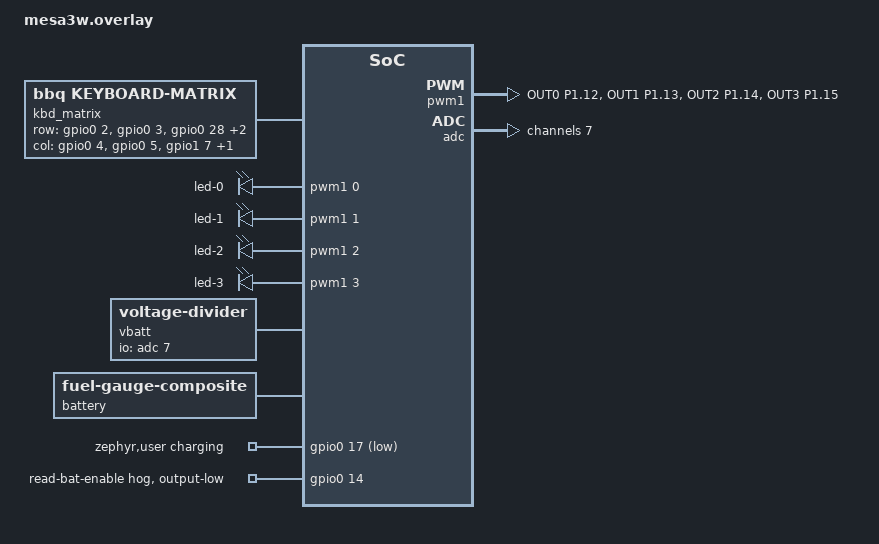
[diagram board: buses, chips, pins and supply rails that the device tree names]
/* Device tree overlay for the mesa3w keyboard, on the xiao_ble board
 *
 * The mesa3w is a new left board for the mesa3: a Seeed XIAO nRF52840 Plus in
 * place of the Tiny 2040, with the mesa3's passive right half unchanged over
 * the RJ-45.  It keeps the mesa3b's matrix, every key in the same (column,
 * row), so the firmware translates it with the mesa3b's table; the board-info
 * name, "mesa3w", is what tells them apart.  The pin map is mesa3w-left's
 * PCB, through the XIAO Plus pad table.
 *
 * The module's own USB-C is the keyboard's, and its 3.3 V LDO the rail, so
 * nothing here configures power.  Four white LEDs on D7..D10 (P1.12..P1.15),
 * anodes on 3V3 and sunk through 560 ohms, are the modifier indicator.
 */

#include <zephyr/dt-bindings/adc/adc.h>
#include <zephyr/dt-bindings/adc/nrf-saadc.h>
#include <zephyr/dt-bindings/battery/battery.h>

/* MCUboot at 0x27000, jolt in slot 0 after it, slot 1 on the QSPI flash. */
#include "mesa3w-partitions.dtsi"

/ {
	aliases {
		matrix = &kbd_matrix;
	};

	chosen {
		zephyr,code-partition = &slot0_partition;

		zephyr,matrix = &kbd_matrix;
		bbq,mono-leds = &mono_leds;

		/* The board's console is a CDC ACM port on the USB controller,
		 * which would be a second USB device beside jolt's.  The console
		 * is RTT, over the Tag-Connect. */
		/delete-property/ zephyr,console;
		/delete-property/ zephyr,shell-uart;
		/delete-property/ zephyr,uart-mcumgr;
		/delete-property/ zephyr,bt-mon-uart;
		/delete-property/ zephyr,bt-c2h-uart;
	};

	/* The last 4 KiB page of the storage partition, which is cut short to
	 * make room, so that settings (Bluetooth bonds, later) can never erase
	 * it.  Below the UF2 bootloader, and outside the application. */
	board_info: board-info@f3000 {
		compatible = "bbq,board-info";
		reg = <0xf3000 0x100>;
		status = "okay";
	};

	/* The names are swapped here, and that is deliberate, as on the mesa3.
	 * The diodes conduct from the board's rows to its columns, so the
	 * scanner drives the board's *rows* and senses its *columns*; it
	 * drives `col-gpios` and senses `row-gpios`, so the board's rows go in
	 * `col-gpios`.  Both in board order, ROW_A and COL_1 first, which keeps
	 * the scan codes at ROW_x * 5 + COL_n as the translation table expects.
	 *
	 * The XIAO runs at 3.3 V, so the silicon diodes leave the sensing plenty
	 * of margin with standard drive; plan-mesa3w.md's 3.0 V worries were
	 * for the nPM1100 design this board replaced.
	 */
	kbd_matrix: kbd-matrix {
		compatible = "bbq,keyboard-matrix";
		row-gpios = <&gpio0 2 (GPIO_PULL_DOWN | GPIO_ACTIVE_HIGH)>,  /* COL_1, D0 */
			    <&gpio0 3 (GPIO_PULL_DOWN | GPIO_ACTIVE_HIGH)>,  /* COL_2, D1 */
			    <&gpio0 28 (GPIO_PULL_DOWN | GPIO_ACTIVE_HIGH)>, /* COL_3, D2 */
			    <&gpio0 29 (GPIO_PULL_DOWN | GPIO_ACTIVE_HIGH)>, /* COL_4, D3 */
			    <&gpio0 15 (GPIO_PULL_DOWN | GPIO_ACTIVE_HIGH)>; /* COL_5, D11 */
		col-gpios = <&gpio0 4 GPIO_ACTIVE_HIGH>,  /* ROW_A, D4 */
			    <&gpio0 5 GPIO_ACTIVE_HIGH>,  /* ROW_B, D5 */
			    <&gpio1 7 GPIO_ACTIVE_HIGH>,  /* ROW_C, D19 */
			    <&gpio1 11 GPIO_ACTIVE_HIGH>; /* ROW_D, D6 */
		idle-mode = "scan";
	};

	/* The four white LEDs, in board order, which is the indicator's slot
	 * order.  The pins sink the LEDs, so they are lit while low; jolt finds
	 * the children by these names. */
	mono_leds: mono-leds {
		compatible = "pwm-leds";

		led-0 {
			pwms = <&pwm1 0 PWM_MSEC(1) PWM_POLARITY_INVERTED>; /* LED1, D7 */
		};

		led-1 {
			pwms = <&pwm1 1 PWM_MSEC(1) PWM_POLARITY_INVERTED>; /* LED2, D8 */
		};

		led-2 {
			pwms = <&pwm1 2 PWM_MSEC(1) PWM_POLARITY_INVERTED>; /* LED3, D9 */
		};

		led-3 {
			pwms = <&pwm1 3 PWM_MSEC(1) PWM_POLARITY_INVERTED>; /* LED4, D10 */
		};
	};
};

&storage_partition {
	reg = <0x000ec000 0x00007000>;
};

/* The board puts uart0 on D6/D7, i2c1 on D4/D5 and spi2 on D8..D10: ROW_D,
 * ROW_A, ROW_B and three of the four LEDs here. */
&uart0 {
	status = "disabled";
};

&i2c1 {
	status = "disabled";
};

&spi2 {
	status = "disabled";
};

&board_cdc_acm_uart {
	status = "disabled";
};

/* The QSPI flash, a P25Q16H, is suspended (in deep power-down) as soon as
 * its driver has initialized it, and again a few milliseconds after each
 * use; the driver resumes it for each operation.  Its init leaves it in
 * standby, about 13 uA more, which is why this is not left to the default.
 * The driver's init also takes it out of deep power-down, so a reset, or a
 * wake from System OFF, comes back through here. */
&p25q16h {
	zephyr,pm-device-runtime-auto;
};

/* The LEDs on D7..D10.  `nordic,invert` idles the pins high, so the LEDs stay
 * dark until the PWM drives them. */
&pinctrl {
	pwm1_default: pwm1_default {
		group1 {
			psels = <NRF_PSEL(PWM_OUT0, 1, 12)>,
				<NRF_PSEL(PWM_OUT1, 1, 13)>,
				<NRF_PSEL(PWM_OUT2, 1, 14)>,
				<NRF_PSEL(PWM_OUT3, 1, 15)>;
			nordic,invert;
		};
	};

	pwm1_sleep: pwm1_sleep {
		group1 {
			psels = <NRF_PSEL(PWM_OUT0, 1, 12)>,
				<NRF_PSEL(PWM_OUT1, 1, 13)>,
				<NRF_PSEL(PWM_OUT2, 1, 14)>,
				<NRF_PSEL(PWM_OUT3, 1, 15)>;
			low-power-enable;
		};
	};
};

&pwm1 {
	pinctrl-0 = <&pwm1_default>;
	pinctrl-1 = <&pwm1_sleep>;
	pinctrl-names = "default", "sleep";
	status = "okay";
};

/* The module's battery divider runs VBAT -> 1M -> P0.31 -> 510k -> P0.14, so
 * P0.14 is the divider's ground.  Left at reset, P0.14 floats, nothing pulls
 * the divider down, and P0.31 and P0.14 both rise toward VBAT: up to 4.2 V
 * from the cell or the charger, past the 3.6 V (VDD + 0.3 V) limit on either
 * pin.  Driving it low keeps P0.31 at a third of VBAT, about 1.4 V, at a cost
 * of under 3 uA through the divider.  `vbatt` below deliberately does not take
 * this pin as its power-gpios: switching the divider off between readings is
 * exactly what lets the pins rise. */
&gpio0 {
	read-bat-enable {
		gpio-hog;
		gpios = <14 GPIO_ACTIVE_HIGH>;
		output-low;
	};
};

/* The battery: `vbatt` reads the divider above on P0.31 (AIN7), and `battery`
 * turns its voltage into a charge through Zephyr's stock Li-po curve, for the
 * Battery Service (battery.c).  P0.31 sits at a third of VBAT, 1.42 V at
 * most, inside the 1.8 V that the internal 0.6 V reference gives at gain 1/3.
 * The divider is 338k seen from the pin, which the SAADC wants 40 us to
 * sample.
 */
/ {
	vbatt: vbatt {
		compatible = "voltage-divider";
		io-channels = <&adc 7>;
		output-ohms = <510000>;
		full-ohms = <(1000000 + 510000)>;
	};

	battery: battery {
		compatible = "zephyr,fuel-gauge-composite";
		source-primary = <&vbatt>;
		device-chemistry = "lithium-ion-polymer";
		ocv-capacity-table-0 = <BATTERY_OCV_CURVE_LITHIUM_ION_POLYMER_DEFAULT>;
	};

	/* The charger's (BQ25101) CHG, on P0.17 inside the module: open drain,
	 * low while charging, and also what lights the charge LED.  Open drain
	 * needs the pull-up, which costs about 250 uA only while charging, on
	 * USB power. */
	zephyr,user {
		charging-gpios = <&gpio0 17 (GPIO_ACTIVE_LOW | GPIO_PULL_UP)>;
	};
};

&adc {
	channel@7 {
		reg = <7>;
		zephyr,gain = "ADC_GAIN_1_3";
		zephyr,reference = "ADC_REF_INTERNAL";
		zephyr,acquisition-time = <ADC_ACQ_TIME(ADC_ACQ_TIME_MICROSECONDS, 40)>;
		zephyr,input-positive = <NRF_SAADC_AIN7>;
		zephyr,resolution = <12>;
	};
};
